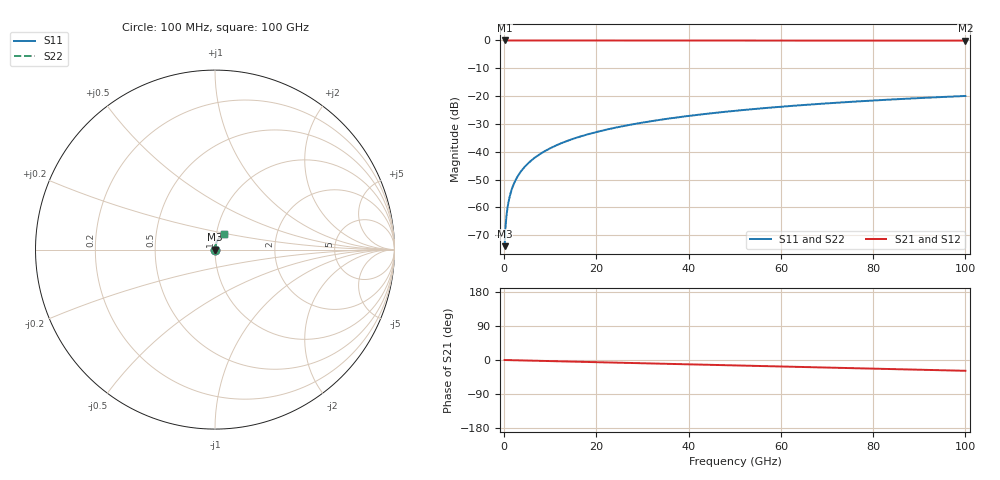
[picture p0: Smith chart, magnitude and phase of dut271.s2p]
! Touchstone file exported from HFSS 2026.1.0
!  File:  C:/ffzhzh/LocalFiles/Ansys_Project_Files/temp_train_TSV_271_1783508651_55944.aedt
!  Generated:  07:05:25 PM Jul  8, 2026
!  Design:  TSV
!  Project:  temp_train_TSV_271_1783508651_55944
! Variables:
!  h_bsmrdl = 2um
!  h_ox = 20um
!  h_rdl = 5um
!  h_sub = 52.1um
!  h_tmrdl = 5um
!  h_tsv = 52.1um
!  h_via = 3um
!  l_bsmrdl = 300um
!  l_sub = 415.34um
!  l_tmrdl = 200um
!  m_sub = 200um
!  pitch = 40.3um
!  r_tsv = 7.67um
!  s_tmrdl = 10um
!  w_bsmrdl = 18um
!  w_sub = 500um
!  w_tmrdl = 12um
!  x_tsv_center1 = 206um
!  x_tsv_center2 = 524um
!  x_tsv_center3 = 736um
!  x_tsv_center4 = 1054um
!  x_tsv_center5 = 1266um
!  x_tsv_center6 = 1584um
# GHz S MA R 50.000000
! Terminal data exported
! Port[1] = TSV1_1_T1
! Port[2] = TSV1_1_T2
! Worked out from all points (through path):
!   1000 points, 100 MHz to 100 GHz, reference 50 ohm
!   highest |S21| = 0.00 dB at 100 MHz (marker M1); lowest = -0.1 dB at 100 GHz (marker M2)
!   group delay of S21, straight-line fit = 790 fs
!   lowest |S11| = -74.0 dB at 100 MHz (marker M3), VSWR 1.00, Z = 50 + j0.0145 ohm
!   |S11| at or under -10 dB: start of sweep to end of sweep
!   |S22| runs from -74.0 to -20.0 dB; largest |S21 - S12| = 2.8e-15
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0.1  0.0002004 46.5  0.9999 -0.0  0.9999 -0.0  0.0002004 46.5
! Gamma 0 0 0 0
! Port Impedance 50 0 50 0
0.4  0.0005736 72.0  0.9998 -0.1  0.9998 -0.1  0.0005736 72.0
0.7  0.0009453 77.2  0.9998 -0.2  0.9998 -0.2  0.0009453 77.2
0.8  0.001069 78.2  0.9998 -0.2  0.9998 -0.2  0.001069 78.2
1.1  0.001438 80.0  0.9998 -0.3  0.9998 -0.3  0.001438 80.0
1.4  0.001804 81.0  0.9997 -0.4  0.9997 -0.4  0.001804 81.0
1.9  0.002405 81.8  0.9997 -0.6  0.9997 -0.6  0.002405 81.8
2.4  0.002993 82.3  0.9996 -0.7  0.9996 -0.7  0.002993 82.3
3  0.003686 82.6  0.9996 -0.9  0.9996 -0.9  0.003686 82.6
3.8  0.004599 83.0  0.9995 -1.1  0.9995 -1.1  0.004599 83.0
4.8  0.005731 83.3  0.9995 -1.4  0.9995 -1.4  0.005731 83.3
6  0.007083 83.5  0.9994 -1.7  0.9994 -1.7  0.007083 83.5
8.8  0.01022 83.5  0.9992 -2.5  0.9992 -2.5  0.01022 83.5
12.4  0.01423 82.9  0.999 -3.6  0.999 -3.6  0.01423 82.9
16.8  0.01907 82.1  0.9988 -4.8  0.9988 -4.8  0.01907 82.1
24.2  0.02712 80.5  0.9984 -6.9  0.9984 -6.9  0.02712 80.5
33.4  0.037 78.3  0.9979 -9.6  0.9979 -9.6  0.037 78.3
41.2  0.04523 76.3  0.9974 -11.8  0.9974 -11.8  0.04523 76.3
50.1  0.05441 73.9  0.9968 -14.3  0.9968 -14.3  0.05441 73.9
66.7  0.07084 69.3  0.9955 -19.0  0.9955 -19.0  0.07084 69.3
83.4  0.08631 64.7  0.9941 -23.8  0.9941 -23.8  0.08631 64.7
100  0.1005 60.2  0.9924 -28.5  0.9924 -28.5  0.1005 60.2
